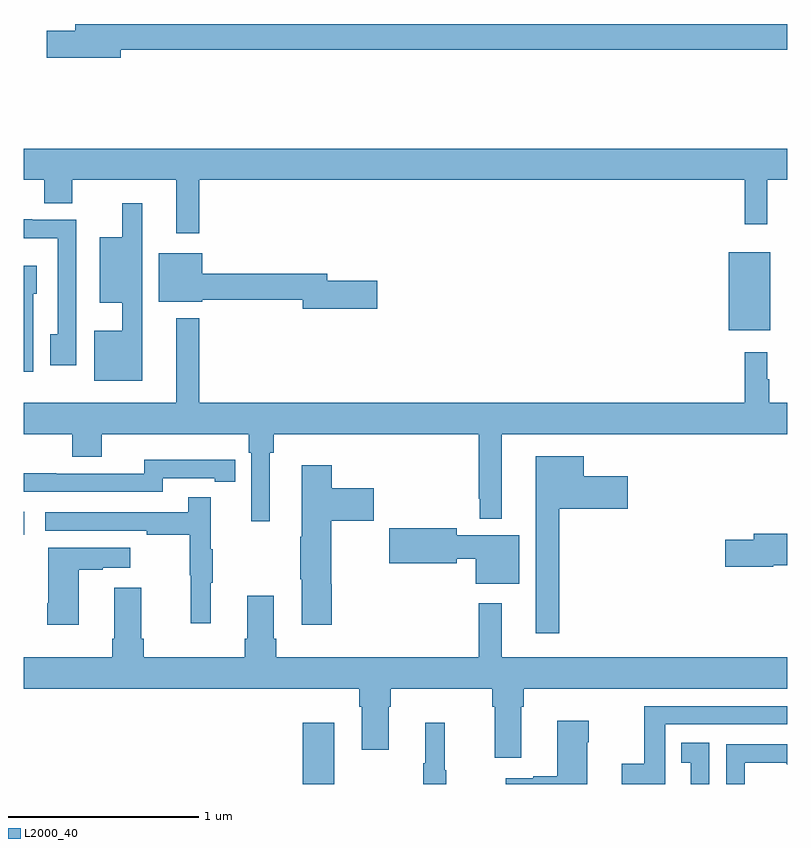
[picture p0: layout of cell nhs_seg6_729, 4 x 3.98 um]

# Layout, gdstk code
import gdstk
lib = gdstk.Library(unit=1e-6, precision=1e-09)
def R(c, l, rs):  # rectangles x0, y0, x1, y1
    for r in rs: c.add(gdstk.rectangle(r[:2], r[2:], *l))
def P(c, l, *ps):  # polygons
    for p in ps: c.add(gdstk.Polygon(p, *l))
L2000_40 = (2000, 40)

nhs_seg6_729 = lib.new_cell('nhs_seg6_729')
R(nhs_seg6_729, L2000_40, [(158.462,949.5,158.626,949.822), (157,950.805,157.003,950.926), (160.694,951.875,160.909,952.285)])
P(nhs_seg6_729, L2000_40, [(157.51,953.344),(161,953.344),(161,953.48),(157.271,953.48),(157.271,953.444),(157.122,953.444),(157.122,953.302),(157.51,953.302)],
  [(157.921,952.664),(160.777,952.664),(160.777,952.431),(160.895,952.431),(160.895,952.664),(161,952.664),(161,952.828),(157,952.828),(157,952.664),(157.108,952.664),(157.108,952.54),(157.255,952.54),(157.255,952.664),(157.799,952.664),(157.799,952.383),(157.921,952.383)],
  [(157.621,952.54),(157.517,952.54),(157.517,952.363),(157.4,952.363),(157.4,952.019),(157.517,952.019),(157.517,951.874),(157.37,951.874),(157.37,951.611),(157.621,951.611)],
  [(157.275,952.455),(157.045,952.455),(157.045,952.457),(157,952.457),(157,952.358),(157.179,952.358),(157.179,951.854),(157.139,951.854),(157.139,951.693),(157.275,951.693)],
  [(158.851,952.136),(158.59,952.136),(158.59,952.172),(157.936,952.172),(157.936,952.279),(157.709,952.279),(157.709,952.025),(157.936,952.025),(157.936,952.036),(158.462,952.036),(158.462,951.989),(158.851,951.989)],
  [(157.051,952.068),(157.069,952.068),(157.069,952.213),(157,952.213),(157,951.66),(157.051,951.66)],
  [(158.29,951.236),(158.309,951.236),(158.309,951.332),(159.384,951.332),(159.384,950.995),(159.39,950.995),(159.39,950.888),(159.505,950.888),(159.505,951.332),(161,951.332),(161,951.496),(160.906,951.496),(160.906,951.62),(160.894,951.62),(160.894,951.76),(160.777,951.76),(160.777,951.496),(157.921,951.496),(157.921,951.94),(157.799,951.94),(157.799,951.496),(157,951.496),(157,951.332),(157.256,951.332),(157.256,951.215),(157.408,951.215),(157.408,951.332),(158.18,951.332),(158.18,951.236),(158.193,951.236),(158.193,950.877),(158.29,950.877)],
  [(159.805,950.942),(160.165,950.942),(160.165,951.112),(159.934,951.112),(159.934,951.217),(159.683,951.217),(159.683,950.289),(159.805,950.289)],
  [(157.728,951.102),(158,951.102),(158,951.082),(158.108,951.082),(158.108,951.198),(158,951.198),(158,951.199),(157.632,951.199),(157.632,951.126),(157.172,951.126),(157.172,951.128),(157,951.128),(157,951.03),(157.728,951.03)],
  [(158.615,950.546),(158.61,950.546),(158.61,950.879),(158.833,950.879),(158.833,951.049),(158.615,951.049),(158.615,951.169),(158.456,951.169),(158.456,950.795),(158.449,950.795),(158.449,950.572),(158.456,950.572),(158.456,950.334),(158.615,950.334)],
  [(157.979,950.555),(157.99,950.555),(157.99,950.729),(157.979,950.729),(157.979,951.001),(157.861,951.001),(157.861,950.922),(157.113,950.922),(157.113,950.826),(157.645,950.826),(157.645,950.806),(157.869,950.806),(157.869,950.592),(157.876,950.592),(157.876,950.343),(157.979,950.343)],
  [(159.595,950.803),(159.268,950.803),(159.268,950.84),(158.916,950.84),(158.916,950.657),(159.268,950.657),(159.268,950.68),(159.368,950.68),(159.368,950.549),(159.595,950.549)],
  [(160.927,950.645),(161,950.645),(161,950.81),(160.823,950.81),(160.823,950.78),(160.674,950.78),(160.674,950.638),(160.927,950.638)],
  [(157.288,950.623),(157.415,950.623),(157.415,950.633),(157.558,950.633),(157.558,950.737),(157.13,950.737),(157.13,950.446),(157.123,950.446),(157.123,950.334),(157.288,950.334)],
  [(159.607,949.904),(159.62,949.904),(159.62,950),(161,950),(161,950.164),(159.505,950.164),(159.505,950.446),(159.384,950.446),(159.384,950.164),(158.324,950.164),(158.324,950.26),(158.311,950.26),(158.311,950.485),(158.171,950.485),(158.171,950.26),(158.159,950.26),(158.159,950.164),(157.628,950.164),(157.628,950.26),(157.615,950.26),(157.615,950.527),(157.475,950.527),(157.475,950.26),(157.463,950.26),(157.463,950.164),(157,950.164),(157,950),(158.759,950),(158.759,949.904),(158.771,949.904),(158.771,949.68),(158.911,949.68),(158.911,949.904),(158.924,949.904),(158.924,950),(159.455,950),(159.455,949.904),(159.467,949.904),(159.467,949.638),(159.607,949.638)],
  [(160.359,949.812),(161,949.812),(161,949.908),(160.251,949.908),(160.251,949.606),(160.133,949.606),(160.133,949.5),(160.359,949.5)],
  [(159.952,949.718),(159.96,949.718),(159.96,949.831),(159.794,949.831),(159.794,949.541),(159.668,949.541),(159.668,949.531),(159.525,949.531),(159.525,949.5),(159.952,949.5)],
  [(159.214,949.572),(159.206,949.572),(159.206,949.822),(159.104,949.822),(159.104,949.609),(159.093,949.609),(159.093,949.5),(159.214,949.5)],
  [(160.59,949.717),(160.444,949.717),(160.444,949.611),(160.493,949.611),(160.493,949.5),(160.59,949.5)],
  [(160.776,949.61),(160.99,949.61),(161,949.6),(161,949.707),(160.68,949.707),(160.68,949.5),(160.776,949.5)])

lib.write_gds('nhs_seg6_729.gds')
